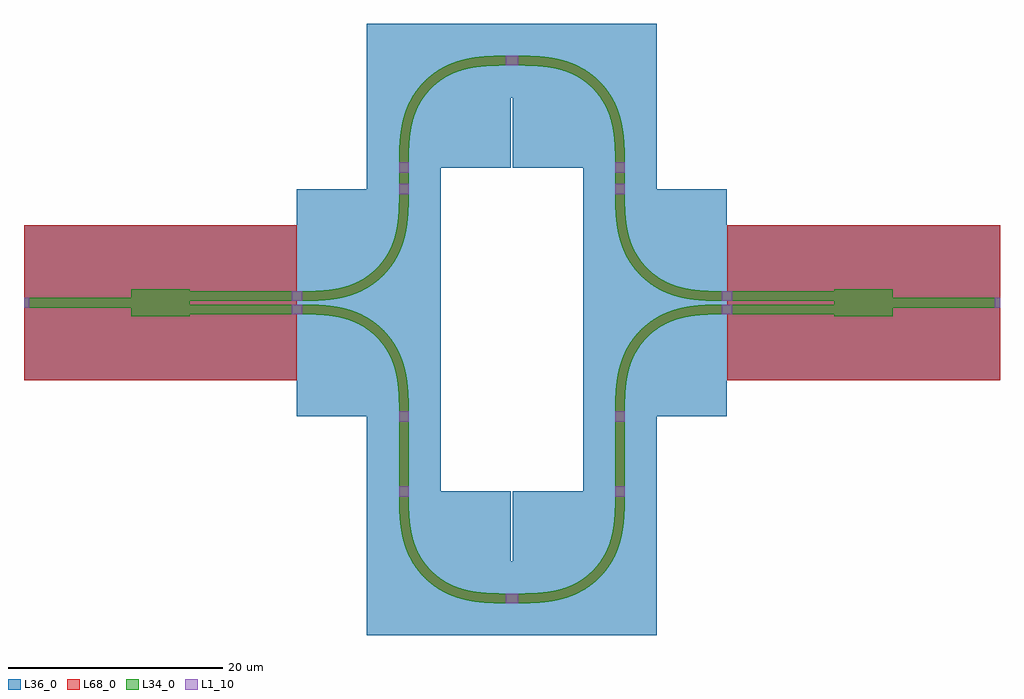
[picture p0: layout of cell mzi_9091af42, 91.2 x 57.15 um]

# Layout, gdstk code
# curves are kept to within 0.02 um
from math import pi, radians
import gdstk
lib = gdstk.Library(unit=1e-6, precision=1e-09)
def R(c, l, rs):  # rectangles x0, y0, x1, y1
    for r in rs: c.add(gdstk.rectangle(r[:2], r[2:], *l))
def P(c, l, *ps):  # polygons
    for p in ps: c.add(gdstk.Polygon(p, *l))
L1_10 = (1, 10)
L34_0 = (34, 0)
L36_0 = (36, 0)
L68_0 = (68, 0)

mmi1x2_3325f8fb = lib.new_cell('mmi1x2_3325f8fb')
R(mmi1x2_3325f8fb, L1_10, [(15,-1.075,15.5,-0.175), (-10,-0.45,-9.5,0.45), (15,0.175,15.5,1.075)])
R(mmi1x2_3325f8fb, L34_0, [(0,-1.25,5.5,1.25)])
P(mmi1x2_3325f8fb, L34_0, [(-10,0.45),(0,0.5),(0,-0.5),(-10,-0.45)],
  [(15.5,0.175),(5.5,0.125),(5.5,1.125),(15.5,1.075)],
  [(15.5,-1.075),(5.5,-1.125),(5.5,-0.125),(15.5,-0.175)])
R(mmi1x2_3325f8fb, L36_0, [(-10,-7.25,15.5,7.25), (0,-4.25,5.5,4.25), (5.5,-4.125,15.5,2.875), (-10,-3.5,0,3.5), (5.5,-2.875,15.5,4.125)])
R(mmi1x2_3325f8fb, L68_0, [(-10,-7.25,15.5,7.25)])
mmi1x2_3325f8fb.add(gdstk.Label('o1', (0,0), layer=1, texttype=10))
mmi1x2_3325f8fb.add(gdstk.Label('o2', (10,0), layer=1, texttype=10))
mmi1x2_3325f8fb.add(gdstk.Label('o1', (0,0), layer=1, texttype=10))
mmi1x2_3325f8fb.add(gdstk.Label('o2', (10,0), layer=1, texttype=10))
mmi1x2_3325f8fb.add(gdstk.Label('o1', (0,0), layer=1, texttype=10))
mmi1x2_3325f8fb.add(gdstk.Label('o2', (10,0), layer=1, texttype=10))
mmi1x2_3325f8fb.add(gdstk.Label('o1', (0,0), layer=1, texttype=10))
mmi1x2_3325f8fb.add(gdstk.Label('o2', (5.5,0), layer=1, texttype=10))
mmi1x2_3325f8fb.add(gdstk.Label('o1', (-10,0), layer=1, texttype=10))
mmi1x2_3325f8fb.add(gdstk.Label('o2', (15.5,0.625), layer=1, texttype=10))
mmi1x2_3325f8fb.add(gdstk.Label('o3', (15.5,-0.625), layer=1, texttype=10))

bend_euler_5de8e3c1 = lib.new_cell('bend_euler_5de8e3c1')
R(bend_euler_5de8e3c1, L1_10, [(0,-0.45,0.5,0.45), (9.55,9.5,10.45,10)])
P(bend_euler_5de8e3c1, L34_0, [(0.047,-0.45),(1.979,-0.418),(3.509,-0.271),(4.226,-0.137),(4.889,0.037),(5.587,0.283),(6.076,0.503),(2.298,0.503),(1.387,0.461),(0,0.45),(0,-0.45)],
  [(6.088,0.509),(6.743,0.874),(7.318,1.272),(7.963,1.825),(8.411,2.295),(7.145,2.295),(6.666,1.909),(6.153,1.568),(5.65,1.296),(5.085,1.053),(4.459,0.849),(3.768,0.687),(3.017,0.57),(2.298,0.503)],
  [(8.411,2.295),(9.018,3.089),(9.535,4.002),(9.904,4.923),(10.167,5.917),(9.246,5.917),(9.102,5.372),(8.899,4.792),(8.685,4.311),(8.432,3.847),(8.143,3.406),(7.82,2.988),(7.145,2.295)],
  [(10.177,5.965),(10.305,6.731),(10.392,7.592),(10.436,8.496),(10.45,10),(9.55,10),(9.539,8.613),(9.491,7.612),(9.388,6.672),(9.246,5.917),(10.167,5.917)])
R(bend_euler_5de8e3c1, L36_0, [(0,-3.45,13.45,10)])
P(bend_euler_5de8e3c1, L68_0, [(0.047,-0.45),(1.979,-0.418),(3.509,-0.271),(4.226,-0.137),(4.889,0.037),(5.587,0.283),(6.076,0.503),(2.298,0.503),(1.387,0.461),(0,0.45),(0,-0.45)],
  [(6.088,0.509),(6.743,0.874),(7.318,1.272),(7.963,1.825),(8.411,2.295),(7.145,2.295),(6.666,1.909),(6.153,1.568),(5.65,1.296),(5.085,1.053),(4.459,0.849),(3.768,0.687),(3.017,0.57),(2.298,0.503)],
  [(8.411,2.295),(9.018,3.089),(9.535,4.002),(9.904,4.923),(10.167,5.917),(9.246,5.917),(9.102,5.372),(8.899,4.792),(8.685,4.311),(8.432,3.847),(8.143,3.406),(7.82,2.988),(7.145,2.295)],
  [(10.177,5.965),(10.305,6.731),(10.392,7.592),(10.436,8.496),(10.45,10),(9.55,10),(9.539,8.613),(9.491,7.612),(9.388,6.672),(9.246,5.917),(10.167,5.917)])
bend_euler_5de8e3c1.add(gdstk.Label('o1', (0,0), layer=1, texttype=10))
bend_euler_5de8e3c1.add(gdstk.Label('o2', (10,10), layer=1, texttype=10))

straight_be31efba = lib.new_cell('straight_be31efba')
R(straight_be31efba, L1_10, [(0,-0.45,0.5,0.45), (6.5,-0.45,7,0.45)])
R(straight_be31efba, L34_0, [(0,-0.45,7,0.45)])
R(straight_be31efba, L36_0, [(0,-3.45,7,3.45)])
R(straight_be31efba, L68_0, [(0,-0.45,7,0.45)])
straight_be31efba.add(gdstk.Label('o1', (0,0), layer=1, texttype=10))
straight_be31efba.add(gdstk.Label('o2', (7,0), layer=1, texttype=10))

straight_87ca9eb6 = lib.new_cell('straight_87ca9eb6')
R(straight_87ca9eb6, L1_10, [(-0.4,-0.45,0.1,0.45), (0,-0.45,0.5,0.45)])
R(straight_87ca9eb6, L34_0, [(0,-0.45,0.1,0.45)])
R(straight_87ca9eb6, L36_0, [(-0.4,-3.45,0.5,3.45)])
R(straight_87ca9eb6, L68_0, [(0,-0.45,0.1,0.45)])
straight_87ca9eb6.add(gdstk.Label('o1', (0,0), layer=1, texttype=10))
straight_87ca9eb6.add(gdstk.Label('o2', (0.1,0), layer=1, texttype=10))

straight_cae05ce7 = lib.new_cell('straight_cae05ce7')
R(straight_cae05ce7, L1_10, [(0,-0.45,0.5,0.45), (1.5,-0.45,2,0.45)])
R(straight_cae05ce7, L34_0, [(0,-0.45,2,0.45)])
R(straight_cae05ce7, L36_0, [(0,-3.45,2,3.45)])
R(straight_cae05ce7, L68_0, [(0,-0.45,2,0.45)])
straight_cae05ce7.add(gdstk.Label('o1', (0,0), layer=1, texttype=10))
straight_cae05ce7.add(gdstk.Label('o2', (2,0), layer=1, texttype=10))

straight_3fd8eea8 = lib.new_cell('straight_3fd8eea8')
R(straight_3fd8eea8, L1_10, [(-0.41,-0.45,0.09,0.45), (0,-0.45,0.5,0.45)])
R(straight_3fd8eea8, L34_0, [(0,-0.45,0.09,0.45)])
R(straight_3fd8eea8, L36_0, [(-0.41,-3.45,0.5,3.45)])
R(straight_3fd8eea8, L68_0, [(0,-0.45,0.09,0.45)])
straight_3fd8eea8.add(gdstk.Label('o1', (0,0), layer=1, texttype=10))
straight_3fd8eea8.add(gdstk.Label('o2', (0.09,0), layer=1, texttype=10))

straight_51177ad7 = lib.new_cell('straight_51177ad7')
R(straight_51177ad7, L1_10, [(0,-0.45,0.5,0.45), (1.5,-0.45,2,0.45)])
R(straight_51177ad7, L34_0, [(0,-0.45,2,0.45)])
R(straight_51177ad7, L36_0, [(0,-3.45,2,3.45)])
R(straight_51177ad7, L68_0, [(0,-0.45,2,0.45)])
straight_51177ad7.add(gdstk.Label('o1', (0,0), layer=1, texttype=10))
straight_51177ad7.add(gdstk.Label('o2', (2,0), layer=1, texttype=10))

straight_a8d7fef2 = lib.new_cell('straight_a8d7fef2')
R(straight_a8d7fef2, L1_10, [(-0.49,-0.45,0.01,0.45), (0,-0.45,0.5,0.45)])
R(straight_a8d7fef2, L34_0, [(0,-0.45,0.01,0.45)])
R(straight_a8d7fef2, L36_0, [(-0.49,-3.45,0.5,3.45)])
R(straight_a8d7fef2, L68_0, [(0,-0.45,0.01,0.45)])
straight_a8d7fef2.add(gdstk.Label('o1', (0,0), layer=1, texttype=10))
straight_a8d7fef2.add(gdstk.Label('o2', (0.01,0), layer=1, texttype=10))

straight_59b5e9ad = lib.new_cell('straight_59b5e9ad')
R(straight_59b5e9ad, L1_10, [(0,-0.45,0.5,0.45), (6.5,-0.45,7,0.45)])
R(straight_59b5e9ad, L34_0, [(0,-0.45,7,0.45)])
R(straight_59b5e9ad, L36_0, [(0,-3.45,7,3.45)])
R(straight_59b5e9ad, L68_0, [(0,-0.45,7,0.45)])
straight_59b5e9ad.add(gdstk.Label('o1', (0,0), layer=1, texttype=10))
straight_59b5e9ad.add(gdstk.Label('o2', (7,0), layer=1, texttype=10))

mzi_9091af42 = lib.new_cell('mzi_9091af42')
mzi_9091af42.add(gdstk.Reference(mmi1x2_3325f8fb, (0,0)))
mzi_9091af42.add(gdstk.Reference(mmi1x2_3325f8fb, (71.2,0), rotation=pi, x_reflection=True))
mzi_9091af42.add(gdstk.Reference(bend_euler_5de8e3c1, (15.5,-0.625), x_reflection=True))
mzi_9091af42.add(gdstk.Reference(straight_be31efba, (25.5,-10.625), rotation=3*pi/2))
mzi_9091af42.add(gdstk.Reference(bend_euler_5de8e3c1, (25.5,-17.625), rotation=3*pi/2))
mzi_9091af42.add(gdstk.Reference(straight_87ca9eb6, (35.5,-27.625)))
mzi_9091af42.add(gdstk.Reference(bend_euler_5de8e3c1, (15.5,0.625)))
mzi_9091af42.add(gdstk.Reference(straight_cae05ce7, (25.5,10.625), rotation=pi/2))
mzi_9091af42.add(gdstk.Reference(bend_euler_5de8e3c1, (35.5,22.625), rotation=pi))
mzi_9091af42.add(gdstk.Reference(straight_87ca9eb6, (35.5,22.625)))
mzi_9091af42.add(gdstk.Reference(bend_euler_5de8e3c1, (35.69,22.625), x_reflection=True))
mzi_9091af42.add(gdstk.Reference(bend_euler_5de8e3c1, (45.69,10.625), rotation=3*pi/2))
mzi_9091af42.add(gdstk.Reference(straight_3fd8eea8, (35.6,22.625)))
mzi_9091af42.add(gdstk.Reference(straight_51177ad7, (45.69,12.625), rotation=3*pi/2))
mzi_9091af42.add(gdstk.Reference(straight_a8d7fef2, (55.69,0.625)))
mzi_9091af42.add(gdstk.Reference(bend_euler_5de8e3c1, (35.69,-27.625)))
mzi_9091af42.add(gdstk.Reference(bend_euler_5de8e3c1, (45.69,-10.625), rotation=pi/2, x_reflection=True))
mzi_9091af42.add(gdstk.Reference(straight_3fd8eea8, (35.6,-27.625)))
mzi_9091af42.add(gdstk.Reference(straight_59b5e9ad, (45.69,-17.625), rotation=pi/2))
mzi_9091af42.add(gdstk.Reference(straight_a8d7fef2, (55.69,-0.625)))

lib.write_gds('mzi_9091af42.gds')
